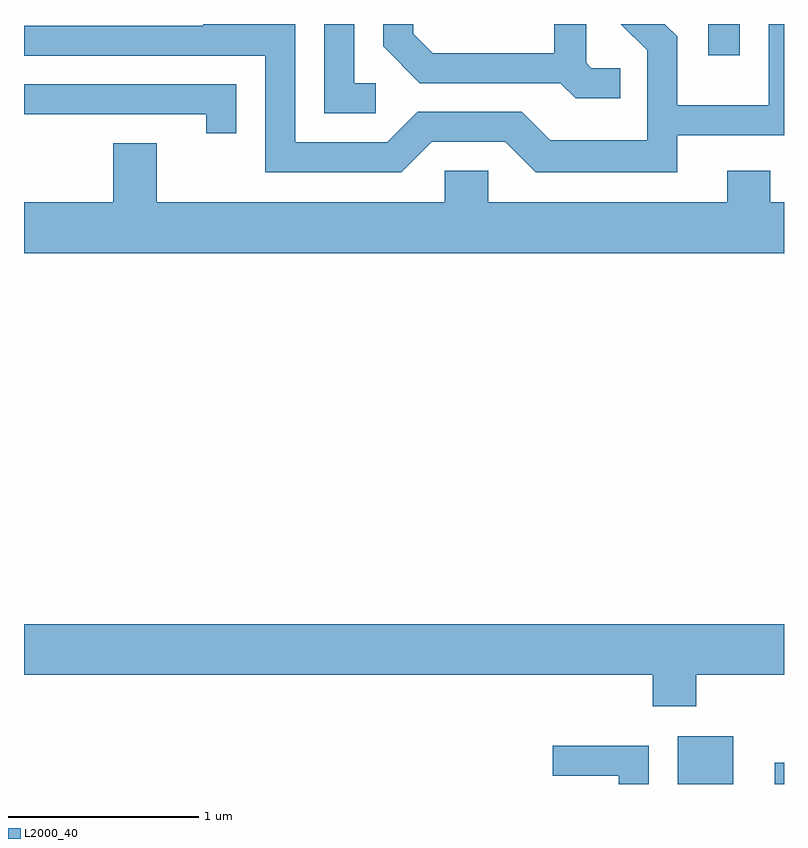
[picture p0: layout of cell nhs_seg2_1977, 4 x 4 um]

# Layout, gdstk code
import gdstk
lib = gdstk.Library(unit=1e-6, precision=1e-09)
def R(c, l, rs):  # rectangles x0, y0, x1, y1
    for r in rs: c.add(gdstk.rectangle(r[:2], r[2:], *l))
def P(c, l, *ps):  # polygons
    for p in ps: c.add(gdstk.Polygon(p, *l))
L2000_40 = (2000, 40)

nhs_seg2_1977 = lib.new_cell('nhs_seg2_1977')
R(nhs_seg2_1977, L2000_40, [(247.051,987.802,247.344,988.054), (247.561,987.802,247.611,987.913), (247.211,991.638,247.379,991.802), (245.881,991.801,246.109,991.802)])
P(nhs_seg2_1977, L2000_40, [(246.748,991.569),(246.597,991.569),(246.569,991.597),(246.569,991.802),(246.401,991.802),(246.401,991.649),(245.762,991.649),(245.659,991.752),(245.659,991.802),(245.501,991.802),(245.501,991.684),(245.694,991.491),(246.434,991.491),(246.514,991.411),(246.748,991.411)],
  [(245.463,991.489),(245.349,991.489),(245.349,991.802),(245.191,991.802),(245.191,991.331),(245.463,991.331)],
  [(245.757,991.181),(246.144,991.181),(246.304,991.021),(247.049,991.021),(247.049,991.216),(247.611,991.216),(247.611,991.802),(247.531,991.802),(247.531,991.374),(247.049,991.374),(247.049,991.737),(246.984,991.802),(246.753,991.802),(246.891,991.664),(246.891,991.189),(246.382,991.189),(246.232,991.339),(245.684,991.339),(245.524,991.179),(245.039,991.179),(245.039,991.802),(244.555,991.802),(244.555,991.794),(243.611,991.794),(243.611,991.636),(244.881,991.636),(244.881,991.021),(245.597,991.021)],
  [(244.729,991.484),(243.611,991.484),(243.611,991.326),(244.571,991.326),(244.571,991.228),(244.729,991.228)],
  [(247.611,990.864),(247.539,990.864),(247.539,991.029),(247.311,991.029),(247.311,990.864),(246.054,990.864),(246.054,991.029),(245.826,991.029),(245.826,990.864),(244.309,990.864),(244.309,991.174),(244.081,991.174),(244.081,990.864),(243.611,990.864),(243.611,990.596),(247.611,990.596)],
  [(247.149,988.376),(247.611,988.376),(247.611,988.644),(243.611,988.644),(243.611,988.376),(246.921,988.376),(246.921,988.211),(247.149,988.211)],
  [(246.899,988.004),(246.393,988.004),(246.393,987.846),(246.741,987.846),(246.741,987.802),(246.899,987.802)])

lib.write_gds('nhs_seg2_1977.gds')
